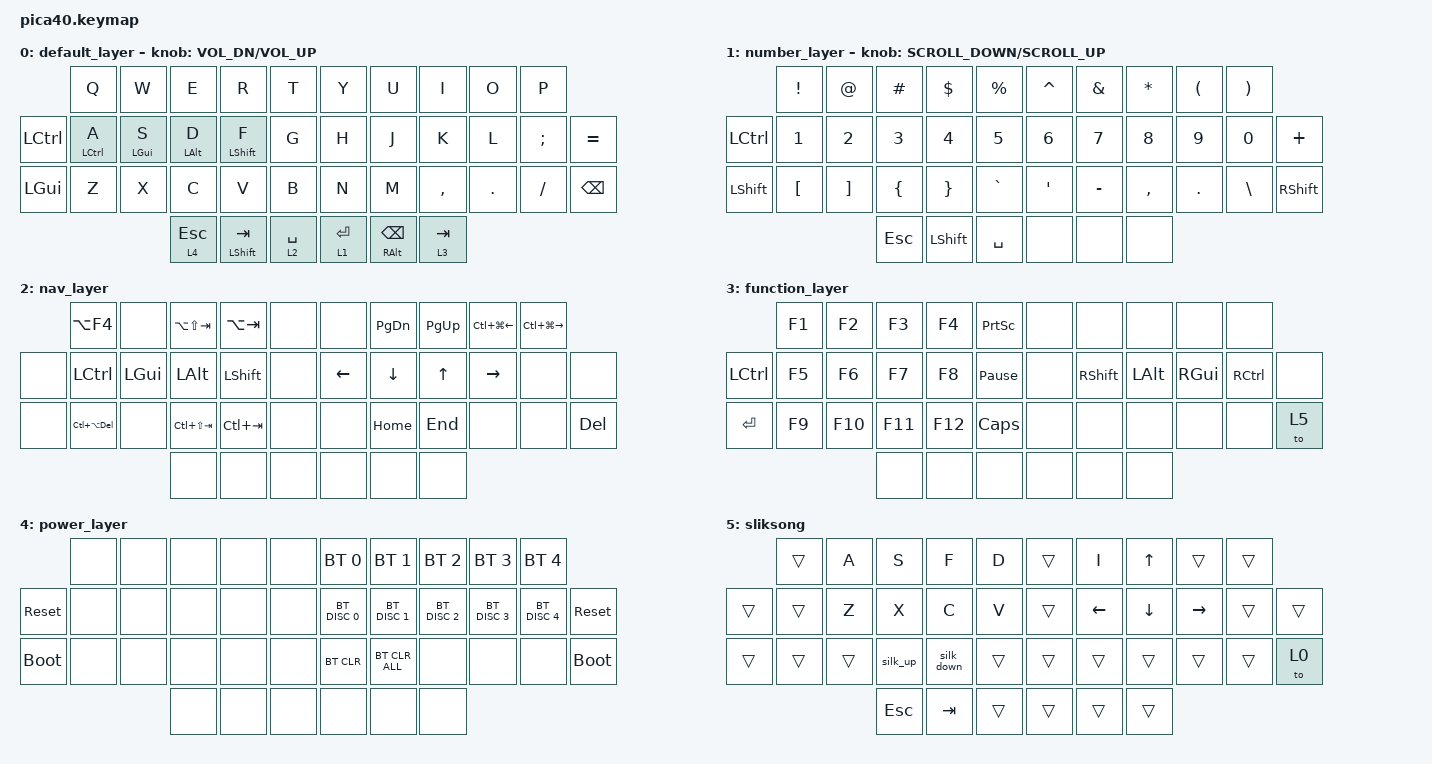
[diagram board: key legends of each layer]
#include <behaviors.dtsi>
#include <dt-bindings/zmk/bt.h>
#include <dt-bindings/zmk/keys.h>

#define QWERTY 0
#define GAME 1
#define NAV 2
#define NUM 3
#define SYM 4
#define FUNC 5

/ {
    behaviors {
        hm: homerow_mods {
            compatible = "zmk,behavior-hold-tap";
            label = "HOMEROW_MODS";
            #binding-cells = <2>;
            tapping-term-ms = <200>;
            flavor = "tap-preferred";
            bindings = <&kp>, <&kp>;

            require-prior-idle-ms = <100>;
        };

        rt_lt: right_thumb_lt {
            compatible = "zmk,behavior-hold-tap";
            label = "RIGHT_THUMB_LT";
            bindings = <&mo>, <&kp>;

            #binding-cells = <2>;
            tapping-term-ms = <200>;
            flavor = "hold-preferred";
        };

        ht_hp: ht_hp {
            compatible = "zmk,behavior-hold-tap";
            label = "HT_HP";
            bindings = <&kp>, <&kp>;

            #binding-cells = <2>;
            tapping-term-ms = <200>;
        };

        // Easy alt-tab with alt+backspace thumb using mod-morphs
    };

    combos {
        compatible = "zmk,combos";

        underscore {
            bindings = <&kp UNDER>;
            key-positions = <36 14>;
        };

        arrow {
            bindings = <&arrow>;
            key-positions = <37 17>;
        };

        shift_word {
            bindings = <&caps_word>;
            key-positions = <13 36>;
        };
    };

    macros {
        arrow: arrow {
            compatible = "zmk,behavior-macro";
            #binding-cells = <0>;
            bindings = <&kp MINUS &kp GT>;
            label = "ARROW";
        };

        silk_up: silk_up {
            compatible = "zmk,behavior-macro";
            #binding-cells = <0>;
            bindings = <&kt UP_ARROW &kp F &kt UP_ARROW>;
            label = "SILK_UP";
        };

        silk_down: silk_down {
            compatible = "zmk,behavior-macro";
            #binding-cells = <0>;
            bindings = <&kt DOWN &kp F &kt DOWN>;
            label = "SILK_DOWN";
        };
    };

    keymap {
        compatible = "zmk,keymap";

        default_layer {
            bindings = <
           &kp Q        &kp W       &kp E       &kp R             &kp T        &kp Y         &kp U          &kp I      &kp O    &kp P
&kp LCTRL  &hm LCTRL A  &hm LGUI S  &hm LALT D  &hm LSHFT F       &kp G        &kp H         &kp J          &kp K      &kp L    &kp SEMI  &kp EQUAL
&kp LGUI   &kp Z        &kp X       &kp C       &kp V             &kp B        &kp N         &kp M          &kp COMMA  &kp DOT  &kp FSLH  &kp BSPC
                                    &lt 4 ESC   &ht_hp LSHFT TAB  &lt 2 SPACE  &rt_lt 1 RET  &mt RALT BSPC  &lt 3 TAB
            >;

            sensor-bindings = <&inc_dec_kp C_VOL_DN C_VOL_UP>;
        };

        number_layer {
            bindings = <
                &kp EXCL          &kp AT             &kp POUND       &kp DLLR         &kp PRCNT  &kp CARET  &kp AMPS   &kp ASTRK  &kp LPAR  &kp RPAR
&kp LCTRL       &kp N1            &kp N2             &kp N3          &kp N4           &kp N5     &kp N6     &kp N7     &kp N8     &kp N9    &kp N0    &kp PLUS
&kp LEFT_SHIFT  &kp LEFT_BRACKET  &kp RIGHT_BRACKET  &kp LEFT_BRACE  &kp RIGHT_BRACE  &kp GRAVE  &kp SQT    &kp MINUS  &kp COMMA  &kp DOT   &kp BSLH  &kp RSHFT
                                                     &kp ESC         &kp LSHFT        &kp SPACE  &none      &none      &none
            >;

            sensor-bindings = <&inc_dec_kp K_SCROLL_DOWN K_SCROLL_UP>;
        };

        nav_layer {
            bindings = <
       &kp LA(F4)       &none     &kp LA(LS(TAB))  &kp LA(TAB)  &none  &none     &kp PG_DN  &kp PG_UP  &kp LC(LG(LEFT))  &kp LC(LG(RIGHT))
&none  &kp LCTRL        &kp LGUI  &kp LALT         &kp LSHFT    &none  &kp LEFT  &kp DOWN   &kp UP     &kp RIGHT         &none              &none
&none  &kp LC(LA(DEL))  &none     &kp LC(LS(TAB))  &kp LC(TAB)  &none  &none     &kp HOME   &kp END    &none             &none              &kp DEL
                                  &none            &none        &none  &none     &none      &none
            >;
        };

        function_layer {
            bindings = <
           &kp F1  &kp F2   &kp F3   &kp F4   &kp PSCRN        &none  &none      &none         &none     &none
&kp LCTRL  &kp F5  &kp F6   &kp F7   &kp F8   &kp PAUSE_BREAK  &none  &kp RSHFT  &kp LEFT_ALT  &kp RGUI  &kp RCTRL  &none
&kp ENTER  &kp F9  &kp F10  &kp F11  &kp F12  &kp CAPS         &none  &none      &none         &none     &none      &to 5
                            &none    &none    &none            &none  &none      &none
            >;
        };

        power_layer {
            bindings = <
             &none  &none  &none  &none  &none  &bt BT_SEL 0   &bt BT_SEL 1    &bt BT_SEL 2   &bt BT_SEL 3   &bt BT_SEL 4
&sys_reset   &none  &none  &none  &none  &none  &bt BT_DISC 0  &bt BT_DISC 1   &bt BT_DISC 2  &bt BT_DISC 3  &bt BT_DISC 4  &sys_reset
&bootloader  &none  &none  &none  &none  &none  &bt BT_CLR     &bt BT_CLR_ALL  &none          &none          &none          &bootloader
                           &none  &none  &none  &none          &none           &none
            >;
        };

        sliksong {
            bindings = <
        &trans  &kp A   &kp S     &kp F       &kp D   &trans  &kp I     &kp UP    &trans     &trans
&trans  &trans  &kp Z   &kp X     &kp C       &kp V   &trans  &kp LEFT  &kp DOWN  &kp RIGHT  &trans  &trans
&trans  &trans  &trans  &silk_up  &silk_down  &trans  &trans  &trans    &trans    &trans     &trans  &to 0
                        &kp ESC   &kp TAB     &trans  &trans  &trans    &trans
            >;
        };
    };
};
